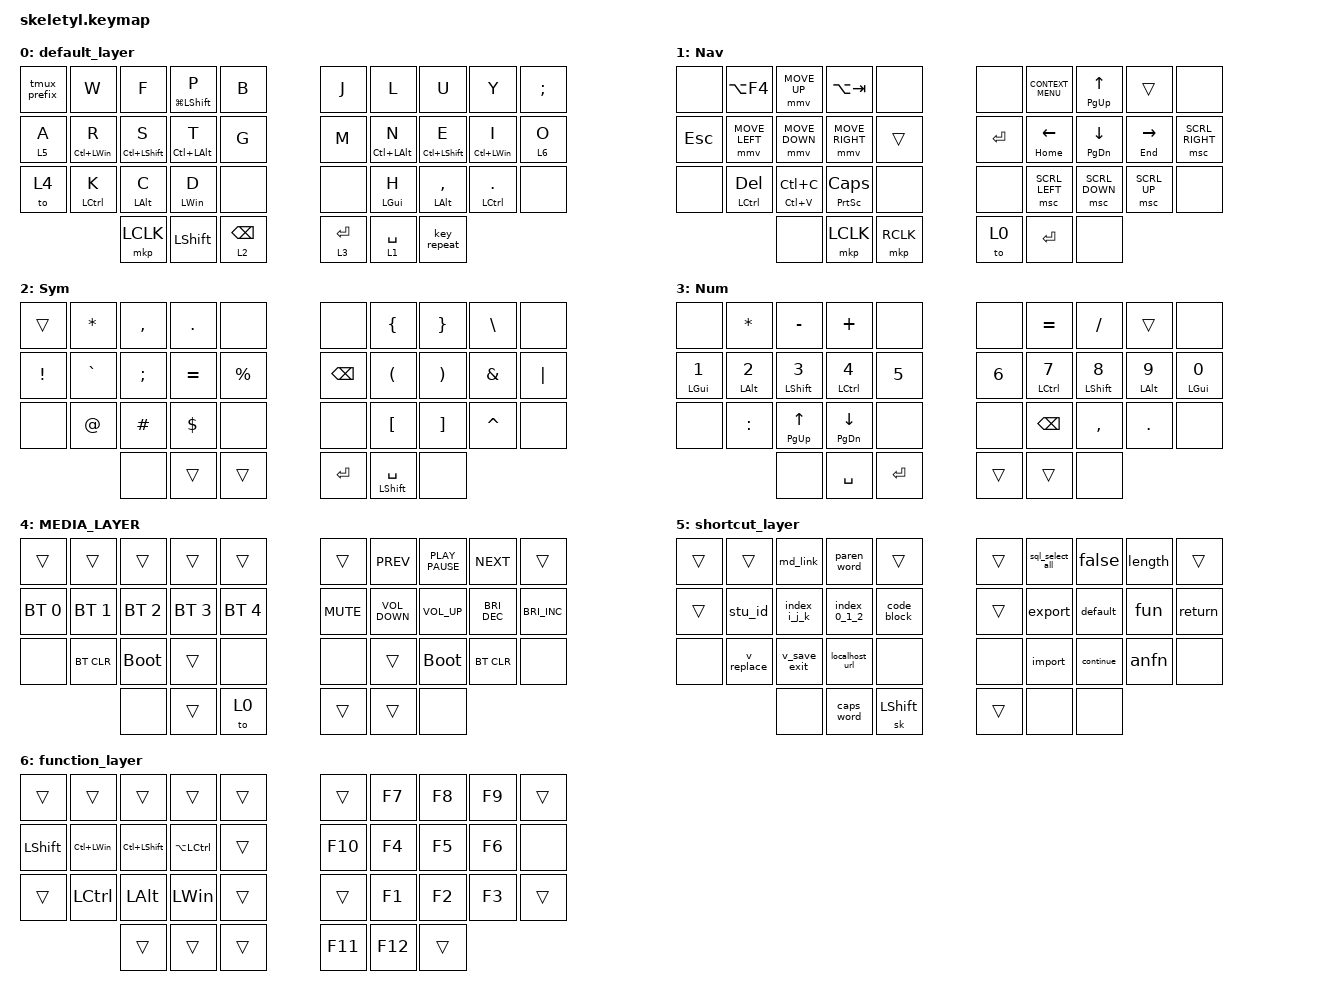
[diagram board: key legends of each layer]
#include <behaviors.dtsi>
#include <dt-bindings/zmk/bt.h>
#include <dt-bindings/zmk/keys.h>
#include <dt-bindings/zmk/mouse.h>

#define DEF_L 0
#define NAV_L 1
#define SYM_L 2
#define NUM_L 3
#define MED_L 4

/* Mod Tap Parameters */

#define TAPPING_TERM 300
#define TD_TAPPING_TERM 325
#define QUICK_TAP_TERM 175

/* Behavior Settings */

&sk {
    release-after-ms = <250>;
    quick-release;
};

&sl { release-after-ms = <250>; };

&mt {
    tapping-term-ms = <TAPPING_TERM>;
    flavor = "tap-preferred";
    quick-tap-ms = <QUICK_TAP_TERM>;
};

/ {
    behaviors {
        f1to3: f1to3 {
            compatible = "zmk,behavior-tap-dance";
            label = "F1TO3";
            #binding-cells = <0>;
            bindings = <&kp F1>, <&kp F2>, <&kp F3>;
        };

        f4to6: f4to6 {
            compatible = "zmk,behavior-tap-dance";
            label = "F4TO6";
            #binding-cells = <0>;
            bindings = <&kp F4>, <&kp F5>, <&kp F6>;
        };

        f7to9: f7to9 {
            compatible = "zmk,behavior-tap-dance";
            label = "F7TO9";
            #binding-cells = <0>;
            bindings = <&kp F7>, <&kp F8>, <&kp F9>;
        };

        shift_or_cap: shift_or_cap {
            compatible = "zmk,behavior-tap-dance";
            label = "SHIFT_OR_CAP";
            #binding-cells = <0>;
            bindings = <&kp LSHIFT>, <&caps_word>;
        };

        index_i_j_k: index_i_j_k {
            compatible = "zmk,behavior-tap-dance";
            label = "INDEX_I_J_K";
            #binding-cells = <0>;
            bindings = <&index_i>, <&index_j>, <&index_k>;
        };

        index_0_1_2: index_0_1_2 {
            compatible = "zmk,behavior-tap-dance";
            label = "INDEX_0_1_2";
            #binding-cells = <0>;
            bindings = <&index0>, <&index1>, <&index_2>;
        };

        swap_quote: swap_quote {
            compatible = "zmk,behavior-mod-morph";
            label = "SWAP_QUOTE";
            bindings = <&kp DOUBLE_QUOTES>, <&kp SINGLE_QUOTE>;

            #binding-cells = <0>;
            mods = <(MOD_LSFT)>;
        };
    };

    conditional_layers { compatible = "zmk,conditional-layers"; };

    combos {
        compatible = "zmk,combos";

        /*                KEY POSITIONS
        TODO
        /* Letters */

        v {
            key-positions = <2 3>;
            bindings = <&kp V>;
            layers = <0>;
        };

        q {
            key-positions = <12 11>;
            bindings = <&kp Q>;
            layers = <0>;
        };

        z {
            key-positions = <2 13>;
            bindings = <&kp Z>;
            layers = <0>;
        };

        esc {
            bindings = <&kp ESC>;
            key-positions = <11 13>;
            layers = <0>;
        };

        tab {
            bindings = <&kp TAB>;
            key-positions = <1 2>;
            layers = <0>;
        };

        x {
            bindings = <&kp X>;
            key-positions = <12 23>;
            layers = <0>;
        };

        zero {
            bindings = <&kp N0>;
            key-positions = <21 22>;
            layers = <0 2>;
            timeout-ms = <30>;
        };

        one {
            bindings = <&kp N1>;
            key-positions = <22 23>;
            layers = <0 2>;
            timeout-ms = <25>;
        };

        slash {
            bindings = <&kp SLASH>;
            key-positions = <27 28>;
            layers = <0>;
        };

        semicolon {
            bindings = <&kp SEMI>;
            key-positions = <16 18>;
            layers = <0>;
            timeout-ms = <17>;
        };

        minus {
            bindings = <&kp MINUS>;
            key-positions = <26 27>;
            layers = <0>;
        };

        swap_quote {
            bindings = <&swap_quote>;
            key-positions = <17 18>;
            layers = <0>;
            timeout-ms = <25>;
        };

        to_nav {
            bindings = <&to 1>;
            key-positions = <21 22 23>;
            layers = <0>;
        };

        str {
            bindings = <&str>;
            key-positions = <6 16>;
            layers = <0>;
        };

        bracket_word {
            bindings = <&bracket_word>;
            key-positions = <7 17>;
            layers = <0>;
        };

        var_text {
            bindings = <&var_text>;
            key-positions = <8 18>;
            layers = <0>;
        };

        two {
            bindings = <&kp NUMBER_2>;
            key-positions = <21 23>;
            layers = <0 2>;
            timeout-ms = <30>;
        };

        equal {
            bindings = <&kp EQUAL>;
            key-positions = <16 17>;
            layers = <0>;
            timeout-ms = <25>;
        };

        key {
            bindings = <&key>;
            key-positions = <3 13>;
            layers = <0>;
        };

        language_switch {
            bindings = <&language_switch>;
            key-positions = <7 8>;
            timeout-ms = <30>;
            layers = <0>;
        };

        home_dir {
            bindings = <&home_dir>;
            key-positions = <1 3>;
            layers = <0>;
        };

        astrk {
            bindings = <&kp ASTRK>;
            key-positions = <26 28>;
            layers = <0>;
        };

        s_nq {
            bindings = <&s_neq>;
            key-positions = <8 6>;
            layers = <0>;
            timeout-ms = <30>;
        };

        less {
            bindings = <&less>;
            key-positions = <1 2>;
            layers = <2>;
        };

        gt {
            bindings = <&gt>;
            key-positions = <2 3>;
            layers = <2>;
        };

        arrow {
            bindings = <&arrow>;
            key-positions = <11 12>;
            layers = <2>;
        };

        last_dir {
            bindings = <&last_dir>;
            key-positions = <1 11>;
            layers = <0>;
        };

        to_media {
            bindings = <&to 4>;
            key-positions = <26 27 28>;
            layers = <0>;
        };

        delete {
            bindings = <&kp DELETE>;
            key-positions = <11 10>;
            layers = <0>;
            timeout-ms = <30>;
        };

        close_program {
            bindings = <&kp LA(F4)>;
            key-positions = <14 13>;
            timeout-ms = <30>;
            layers = <0>;
        };

        sym_or {
            bindings = <&sym_or>;
            key-positions = <8 7>;
            layers = <2>;
        };

        line_start {
            bindings = <&kp CARET>;
            key-positions = <16 26>;
            layers = <0>;
        };

        line_end {
            bindings = <&kp DOLLAR>;
            key-positions = <17 27>;
            layers = <0>;
        };

        exclamation {
            bindings = <&kp EXCL>;
            key-positions = <28 18>;
            layers = <0>;
        };

        colon {
            bindings = <&kp COLON>;
            key-positions = <22 12>;
            layers = <0>;
        };

        underscore {
            bindings = <&kp UNDER>;
            key-positions = <11 21>;
            layers = <0>;
        };
    };

    macros {
        const: const {
            compatible = "zmk,behavior-macro";
            #binding-cells = <0>;
            bindings = <&kp C &kp O &kp N &kp S &kp T &kp SPACE>;
            label = "CONST";
        };

        you: of {
            compatible = "zmk,behavior-macro";
            #binding-cells = <0>;
            bindings = <&kp Y &kp O &kp U>;
            label = "OF";
        };

        and: and {
            compatible = "zmk,behavior-macro";
            #binding-cells = <0>;
            bindings = <&kp A &kp N &kp D>;
            label = "AND";
        };

        key: key {
            compatible = "zmk,behavior-macro";
            #binding-cells = <0>;
            bindings = <&kp K &kp E &kp Y>;
            label = "KEY";
        };

        fun: fun {
            compatible = "zmk,behavior-macro";
            #binding-cells = <0>;
            bindings = <&kp F &kp U &kp N &kp C &kp T &kp I &kp O &kp N>;
            label = "FUN";
        };

        return: return {
            compatible = "zmk,behavior-macro";
            #binding-cells = <0>;
            bindings = <&kp R &kp E &kp T &kp U &kp R &kp N &kp SPACE>;
            label = "RETURN";
        };

        value: value {
            compatible = "zmk,behavior-macro";
            #binding-cells = <0>;
            bindings = <&kp V &kp A &kp L &kp U &kp E>;
            label = "VALUE";
        };

        home_dir: home_dir {
            compatible = "zmk,behavior-macro";
            #binding-cells = <0>;
            bindings = <&kp TILDE &kp FSLH>;
            label = "HOME_DIR";
        };

        s_neq: s_neq {
            compatible = "zmk,behavior-macro";
            #binding-cells = <0>;
            bindings = <&kp EXCL &kp EQUAL &kp EQUAL>;
            label = "S_NEQ";
        };

        less: less {
            compatible = "zmk,behavior-macro";
            #binding-cells = <0>;
            bindings = <&kp LT &kp EQUAL>;
            label = "LT";
        };

        gt: gt {
            compatible = "zmk,behavior-macro";
            #binding-cells = <0>;
            bindings = <&kp GT &kp EQUAL>;
            label = "GT";
        };

        arrow: arrow {
            compatible = "zmk,behavior-macro";
            #binding-cells = <0>;
            bindings = <&kp EQUAL &kp GT>;
            label = "ARROW";
        };

        s_eq: s_eq {
            compatible = "zmk,behavior-macro";
            #binding-cells = <0>;
            bindings = <&kp EQUAL &kp EQUAL &kp EQUAL>;
            label = "S_EQ";
        };

        export: export {
            compatible = "zmk,behavior-macro";
            #binding-cells = <0>;
            bindings = <&kp E &kp X &kp P &kp O &kp R &kp T &kp SPACE>;
            label = "EXPORT";
        };

        last_dir: last_dir {
            compatible = "zmk,behavior-macro";
            #binding-cells = <0>;
            bindings = <&kp DOT &kp DOT &kp FSLH>;
            label = "LAST_DIR";
        };

        str: str {
            compatible = "zmk,behavior-macro";
            #binding-cells = <0>;
            bindings = <&swap_quote &swap_quote &kp LEFT>;
            label = "STR";
        };

        true: true {
            compatible = "zmk,behavior-macro";
            #binding-cells = <0>;
            bindings = <&kp T &kp R &kp U &kp E>;
            label = "TRUE";
        };

        false: false {
            compatible = "zmk,behavior-macro";
            #binding-cells = <0>;
            bindings = <&kp F &kp A &kp L &kp S &kp E>;
            label = "FALSE";
        };

        default: default {
            compatible = "zmk,behavior-macro";
            #binding-cells = <0>;
            bindings = <&kp D &kp E &kp F &kp A &kp U &kp L &kp T &kp SPACE>;
            label = "DEFAULT";
        };

        import: import {
            compatible = "zmk,behavior-macro";
            #binding-cells = <0>;
            bindings = <&kp I &kp M &kp P &kp O &kp R &kp T &kp SPACE>;
            label = "IMPORT";
        };

        continue: continue {
            compatible = "zmk,behavior-macro";
            #binding-cells = <0>;
            bindings = <&kp C &kp O &kp N &kp T &kp I &kp N &kp U &kp E>;
            label = "CONTINUE";
        };

        stu_id: stu_id {
            compatible = "zmk,behavior-macro";
            #binding-cells = <0>;
            bindings = <&kp E &kp N2 &kp N4 &kp N1 &kp N0 &kp N6 &kp N2 &kp N5 &kp N4>;
            label = "STU_ID";
        };

        paren_word: paren_word {
            compatible = "zmk,behavior-macro";
            #binding-cells = <0>;
            bindings = <&kp LPAR &kp RPAR &kp LEFT>;
            label = "PAREN_WORD";
        };

        md_link: md_link {
            compatible = "zmk,behavior-macro";
            #binding-cells = <0>;
            bindings = <&kp LEFT_BRACKET &kp RIGHT_BRACKET &kp LPAR &kp RPAR &kp LEFT &kp LEFT &kp LEFT>;
            label = "MD_LINK";
        };

        index_i: index_i {
            compatible = "zmk,behavior-macro";
            #binding-cells = <0>;
            bindings = <&kp LBKT &kp I &kp RIGHT_BRACKET>;
            label = "INDEX_I";
        };

        index_j: index_j {
            compatible = "zmk,behavior-macro";
            #binding-cells = <0>;
            bindings = <&kp LBKT &kp J &kp RIGHT_BRACKET>;
            label = "INDEX_J";
        };

        index0: index0 {
            compatible = "zmk,behavior-macro";
            #binding-cells = <0>;
            bindings = <&kp LBKT &kp N0 &kp RIGHT_BRACKET>;
            label = "INDEX0";
        };

        index1: index1 {
            compatible = "zmk,behavior-macro";
            #binding-cells = <0>;
            bindings = <&kp LBKT &kp N1 &kp RIGHT_BRACKET>;
            label = "INDEX1";
        };

        length: length {
            compatible = "zmk,behavior-macro";
            #binding-cells = <0>;
            bindings = <&kp L &kp E &kp N &kp G &kp T &kp H>;
            label = "LENGTH";
        };

        index_2: index_2 {
            compatible = "zmk,behavior-macro";
            #binding-cells = <0>;
            bindings = <&kp LBKT &kp N2 &kp RIGHT_BRACKET>;
            label = "INDEX_2";
        };

        index_k: index_k {
            compatible = "zmk,behavior-macro";
            #binding-cells = <0>;
            bindings = <&kp LBKT &kp K &kp RBKT>;
            label = "INDEX_K";
        };

        sym_or: sym_or {
            compatible = "zmk,behavior-macro";
            #binding-cells = <0>;
            bindings = <&kp PIPE &kp PIPE>;
            label = "SYM_OR";
        };

        localhost_url: localhost_url {
            compatible = "zmk,behavior-macro";
            #binding-cells = <0>;
            bindings = <&kp H &kp T &kp T &kp P &kp COLON &kp FSLH &kp FSLH &kp L &kp O &kp C &kp A &kp L &kp H &kp O &kp S &kp T &kp COLON>;
            label = "LOCALHOST_URL";
        };

        v_replace: v_replace {
            compatible = "zmk,behavior-macro";
            #binding-cells = <0>;
            bindings = <&kp ESCAPE &kp COLON &kp PRCNT &kp S &kp FSLH>;
            label = "V_REPLACE";
        };

        var_text: var_text {
            compatible = "zmk,behavior-macro";
            #binding-cells = <0>;
            bindings = <&kp DLLR &kp LBRC &kp RBRC &kp LEFT>;
            label = "VAR_TEXT";
        };

        v_save_exit: v_save_exit {
            compatible = "zmk,behavior-macro";
            #binding-cells = <0>;
            bindings = <&kp ESCAPE &kp COLON &kp W &kp Q &kp RET>;
            label = "V_SAVE_EXIT";
        };

        bracket_word: bracket_word {
            compatible = "zmk,behavior-macro";
            #binding-cells = <0>;
            bindings = <&kp LBKT &kp RIGHT_BRACKET &kp LEFT>;
            label = "BRACKET_WORD";
        };

        code_block: code_block {
            compatible = "zmk,behavior-macro";
            #binding-cells = <0>;
            bindings = <&kp GRAVE &kp GRAVE &kp GRAVE &kp ENTER &kp GRAVE &kp GRAVE &kp GRAVE &kp UP &kp ENTER>;
            label = "CODE_BLOCK";
        };

        anfn: anfn {
            compatible = "zmk,behavior-macro";
            #binding-cells = <0>;
            bindings = <&kp LPAR &kp RPAR &kp SPACE &kp EQUAL &kp GT>;
            label = "ANFN";
        };

        tmux_prefix: tmux_prefix {
            compatible = "zmk,behavior-macro";
            #binding-cells = <0>;
            bindings = <&kp LC(SPACE)>;
            label = "TMUX_PREFIX";
        };

        sql_select_all: sql_select_all {
            compatible = "zmk,behavior-macro";
            #binding-cells = <0>;
            bindings = <&kp LS(S) &kp LS(E) &kp LS(L) &kp LS(E) &kp LS(C) &kp LS(T) &kp SPACE &kp STAR &kp SPACE &kp LS(F) &kp LS(R) &kp LS(O) &kp LS(M) &kp SPACE>;
            label = "SQL_SELECT_ALL";
        };

        language_switch: language_switch {
            compatible = "zmk,behavior-macro";
            #binding-cells = <0>;
            bindings = <&kp LG(SPACE)>;
            label = "LANGUAGE_SWITCH";
        };
    };

    keymap {
        compatible = "zmk,keymap";

        default_layer {
            bindings = <
&tmux_prefix  &kp W           &kp F             &mt LG(LSHIFT) P    &kp B                                     &kp J        &kp L               &kp U               &kp Y           &kp SEMI
&lt 5 A       &mt LC(LWIN) R  &mt LC(LSHIFT) S  &mt LC(LEFT_ALT) T  &kp G                                     &kp M        &mt LC(LEFT_ALT) N  &mt LC(LSHIFT) E    &mt LC(LWIN) I  &lt 6 O
&to 4         &mt LCTRL K     &mt LEFT_ALT C    &mt LEFT_WIN D      &none                                     &none        &mt LEFT_GUI H      &mt LEFT_ALT COMMA  &mt LCTRL DOT   &none
                                                &mkp LCLK           &kp LSHIFT  &lt 2 BACKSPACE  &lt 3 ENTER  &lt 1 SPACE  &key_repeat
            >;
        };

        nav_layer {
            label = "Nav";
            bindings = <
&none       &kp LA(F4)               &mmv MOVE_UP     &kp LA(TAB)               &none                        &none      &kp K_CONTEXT_MENU  &mt PAGE_UP UP      &trans         &none
&kp ESCAPE  &mmv MOVE_LEFT           &mmv MOVE_DOWN   &mmv MOVE_RIGHT           &trans                       &kp ENTER  &mt HOME LEFT       &mt PAGE_DOWN DOWN  &mt END RIGHT  &msc SCRL_RIGHT
&none       &mt LEFT_CONTROL DELETE  &mt LC(V) LC(C)  &mt PRINTSCREEN CAPSLOCK  &none                        &none      &msc SCRL_LEFT      &msc SCRL_DOWN      &msc SCRL_UP   &none
                                                      &none                     &mkp LCLK  &mkp RCLK  &to 0  &kp ENTER  &none
            >;
        };

        sym_layer {
            label = "Sym";
            bindings = <
&trans    &kp ASTRK  &kp COMMA  &kp DOT     &none                           &none                 &kp LEFT_BRACE        &kp RIGHT_BRACE        &kp BACKSLASH  &none
&kp EXCL  &kp GRAVE  &kp SEMI   &kp EQUAL   &kp PERCENT                     &kp BACKSPACE         &kp LEFT_PARENTHESIS  &kp RIGHT_PARENTHESIS  &kp AMPERSAND  &kp PIPE
&none     &kp AT     &kp HASH   &kp DOLLAR  &none                           &none                 &kp LEFT_BRACKET      &kp RIGHT_BRACKET      &kp CARET      &none
                                &none       &trans       &trans  &kp ENTER  &mt LEFT_SHIFT SPACE  &none
            >;
        };

        num_layer {
            label = "Num";
            bindings = <
&none        &kp ASTRK    &kp MINUS       &kp PLUS            &none                         &none   &kp EQUAL      &kp SLASH     &trans       &none
&mt LGUI N1  &mt LALT N2  &mt LSHFT N3    &mt LCTRL N4        &kp N5                        &kp N6  &mt LCTRL N7   &mt LSHFT N8  &mt LALT N9  &mt LGUI N0
&none        &kp COLON    &mt PAGE_UP UP  &mt PAGE_DOWN DOWN  &none                         &none   &kp BACKSPACE  &kp COMMA     &kp DOT      &none
                                          &none               &kp SPACE  &kp ENTER  &trans  &trans  &none
            >;
        };

        MEDIA_LAYER {
            bindings = <
&trans        &trans        &trans        &trans        &trans                       &trans      &kp K_PREV         &kp K_PLAY_PAUSE  &kp K_NEXT     &trans
&bt BT_SEL 0  &bt BT_SEL 1  &bt BT_SEL 2  &bt BT_SEL 3  &bt BT_SEL 4                 &kp K_MUTE  &kp K_VOLUME_DOWN  &kp K_VOLUME_UP   &kp C_BRI_DEC  &kp C_BRI_INC
&none         &bt BT_CLR    &bootloader   &trans        &none                        &none       &trans             &bootloader       &bt BT_CLR     &none
                                          &none         &trans        &to 0  &trans  &trans      &none
            >;
        };

        shortcut_layer {
            bindings = <
&trans  &trans      &md_link      &paren_word     &trans                               &trans  &sql_select_all  &false     &length  &trans
&trans  &stu_id     &index_i_j_k  &index_0_1_2    &code_block                          &trans  &export          &default   &fun     &return
&none   &v_replace  &v_save_exit  &localhost_url  &none                                &none   &import          &continue  &anfn    &none
                                  &none           &caps_word   &sk LEFT_SHIFT  &trans  &none   &none
            >;
        };

        function_layer {
            bindings = <
&trans          &trans        &trans              &trans         &trans                   &trans   &kp F7  &kp F8  &kp F9  &trans
&kp LEFT_SHIFT  &kp LC(LWIN)  &kp LC(LEFT_SHIFT)  &kp LA(LCTRL)  &trans                   &kp F10  &kp F4  &kp F5  &kp F6  &none
&trans          &kp LCTRL     &kp LEFT_ALT        &kp LWIN       &trans                   &trans   &kp F1  &kp F2  &kp F3  &trans
                                                  &trans         &trans  &trans  &kp F11  &kp F12  &trans
            >;
        };
    };
};
